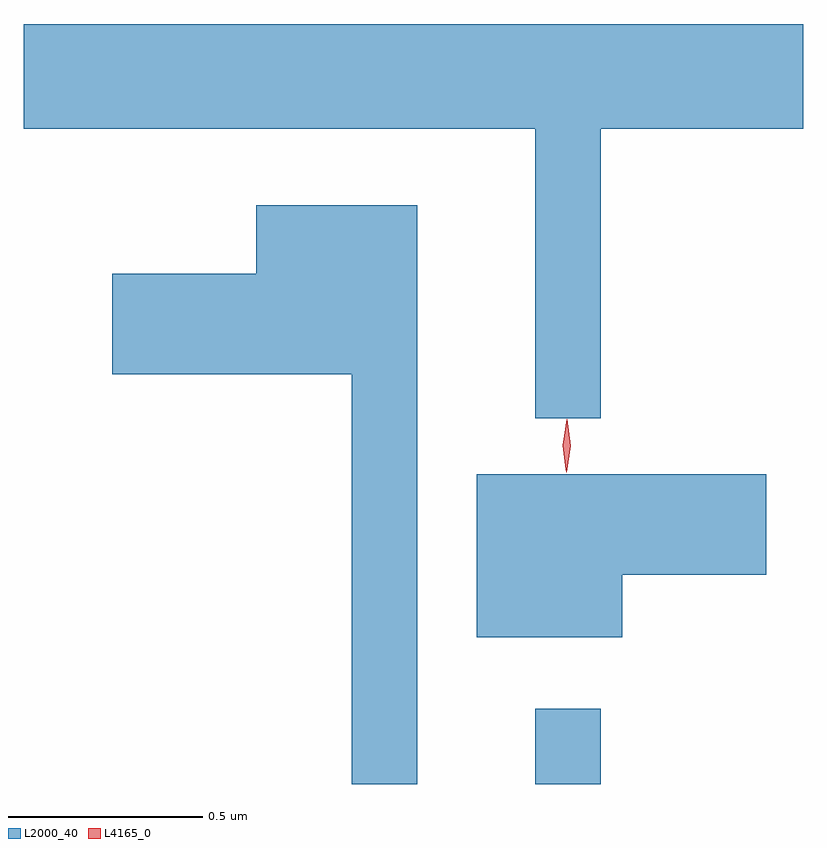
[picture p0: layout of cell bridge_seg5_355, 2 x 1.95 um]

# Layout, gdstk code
import gdstk
lib = gdstk.Library(unit=1e-6, precision=1e-09)
def R(c, l, rs):  # rectangles x0, y0, x1, y1
    for r in rs: c.add(gdstk.rectangle(r[:2], r[2:], *l))
def P(c, l, *ps):  # polygons
    for p in ps: c.add(gdstk.Polygon(p, *l))
L2000_40 = (2000, 40)
L4165_0 = (4165, 0)

bridge_seg5_355 = lib.new_cell('bridge_seg5_355')
R(bridge_seg5_355, L2000_40, [(700.341,1446.235,700.509,1446.428)])
P(bridge_seg5_355, L2000_40, [(700.509,1447.916),(701.029,1447.916),(701.029,1448.184),(699.029,1448.184),(699.029,1447.916),(700.341,1447.916),(700.341,1447.173),(700.509,1447.173)],
  [(700.039,1447.719),(699.626,1447.719),(699.626,1447.544),(699.256,1447.544),(699.256,1447.286),(699.871,1447.286),(699.871,1446.235),(700.039,1446.235)],
  [(700.564,1446.771),(700.934,1446.771),(700.934,1447.029),(700.191,1447.029),(700.191,1446.611),(700.564,1446.611)])
P(bridge_seg5_355, L4165_0, [(700.421,1447.034),(700.421,1447.034),(700.412,1447.102),(700.422,1447.17),(700.423,1447.17),(700.423,1447.17),(700.432,1447.102),(700.422,1447.034)],
  [(700.421,1447.04),(700.42,1447.041),(700.412,1447.104),(700.422,1447.166),(700.423,1447.167),(700.423,1447.166),(700.432,1447.103),(700.422,1447.041)])

lib.write_gds('bridge_seg5_355.gds')
